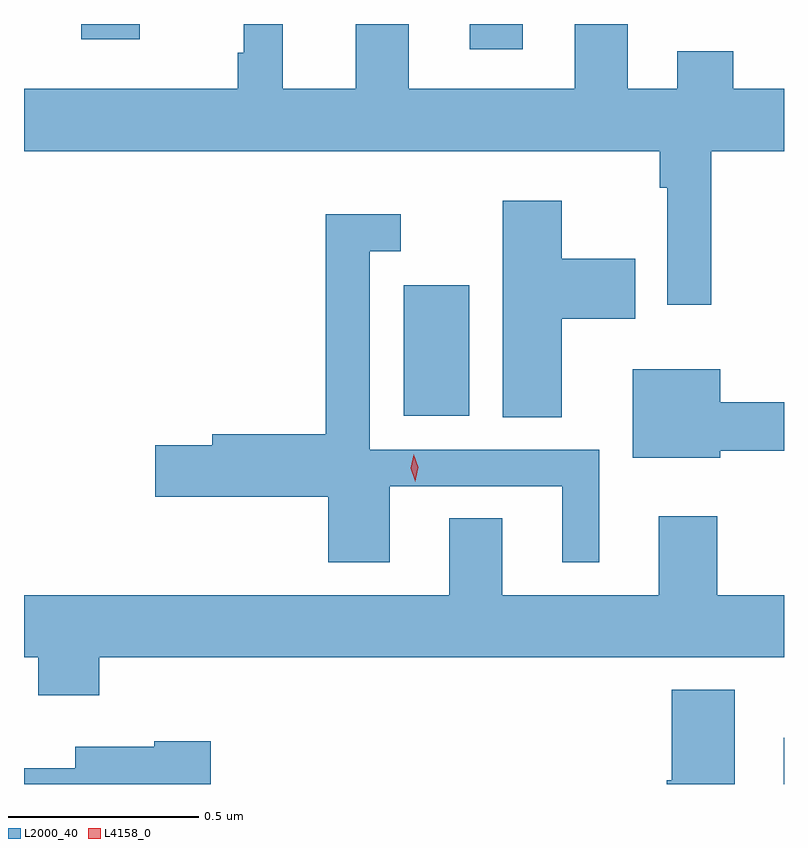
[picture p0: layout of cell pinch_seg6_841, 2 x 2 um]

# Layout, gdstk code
import gdstk
lib = gdstk.Library(unit=1e-6, precision=1e-09)
def R(c, l, rs):  # rectangles x0, y0, x1, y1
    for r in rs: c.add(gdstk.rectangle(r[:2], r[2:], *l))
def P(c, l, *ps):  # polygons
    for p in ps: c.add(gdstk.Polygon(p, *l))
L2000_40 = (2000, 40)
L4158_0 = (4158, 0)

pinch_seg6_841 = lib.new_cell('pinch_seg6_841')
R(pinch_seg6_841, L2000_40, [(196.737,965.651,196.738,965.773), (195.737,966.62,195.91,966.964), (195.911,967.584,196.051,967.651), (194.888,967.611,195.043,967.651)])
P(pinch_seg6_841, L2000_40, [(196.547,967.316),(196.738,967.316),(196.738,967.48),(196.605,967.48),(196.605,967.579),(196.457,967.579),(196.457,967.48),(196.327,967.48),(196.327,967.651),(196.187,967.651),(196.187,967.48),(195.751,967.48),(195.751,967.651),(195.611,967.651),(195.611,967.48),(195.419,967.48),(195.419,967.651),(195.316,967.651),(195.316,967.576),(195.301,967.576),(195.301,967.48),(194.738,967.48),(194.738,967.316),(196.411,967.316),(196.411,967.22),(196.431,967.22),(196.431,966.912),(196.547,966.912)],
  [(196.153,966.875),(196.346,966.875),(196.346,967.033),(196.153,967.033),(196.153,967.186),(195.998,967.186),(195.998,966.616),(196.153,966.616)],
  [(195.7,966.435),(196.154,966.435),(196.154,966.234),(196.252,966.234),(196.252,966.531),(195.648,966.531),(195.648,967.053),(195.73,967.053),(195.73,967.15),(195.532,967.15),(195.532,966.572),(195.233,966.572),(195.233,966.542),(195.084,966.542),(195.084,966.407),(195.539,966.407),(195.539,966.234),(195.7,966.234)],
  [(196.57,966.528),(196.738,966.528),(196.738,966.656),(196.57,966.656),(196.57,966.742),(196.34,966.742),(196.34,966.509),(196.57,966.509)],
  [(194.936,965.984),(196.738,965.984),(196.738,966.148),(196.562,966.148),(196.562,966.355),(196.409,966.355),(196.409,966.148),(195.997,966.148),(195.997,966.35),(195.857,966.35),(195.857,966.148),(194.738,966.148),(194.738,965.984),(194.776,965.984),(194.776,965.885),(194.936,965.885)],
  [(196.609,965.899),(196.442,965.899),(196.442,965.661),(196.43,965.661),(196.43,965.651),(196.609,965.651)],
  [(195.23,965.764),(195.081,965.764),(195.081,965.749),(194.873,965.749),(194.873,965.693),(194.738,965.693),(194.738,965.651),(195.23,965.651)])
P(pinch_seg6_841, L4158_0, [(195.768,966.447),(195.768,966.448),(195.756,966.482),(195.764,966.518),(195.764,966.519),(195.764,966.518),(195.776,966.484),(195.768,966.448)])

lib.write_gds('pinch_seg6_841.gds')
